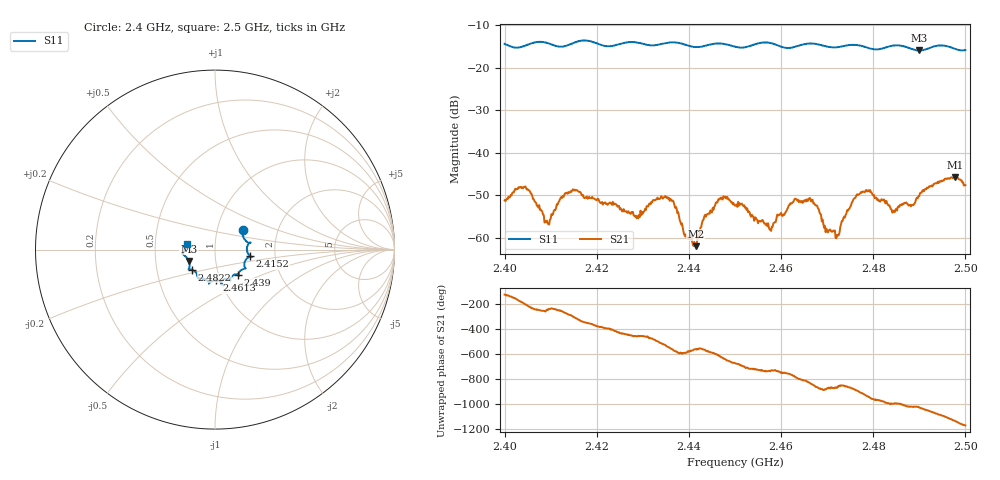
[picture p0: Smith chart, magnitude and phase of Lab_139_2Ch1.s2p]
# Hz S RI R 50
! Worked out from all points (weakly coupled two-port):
!   601 points, 2.4 GHz to 2.5 GHz, reference 50 ohm
!   highest |S21| = -45.72 dB at 2.4978 GHz (marker M1); lowest = -62.0 dB at 2.4415 GHz (marker M2)
!   lowest |S11| = -15.9 dB at 2.49 GHz (marker M3), VSWR 1.38, Z = 36.9 - j4.84 ohm
!   |S11| at or under -10 dB: start of sweep to end of sweep
!   S12 and S22 are empty: the file has one direction only
!   S11 on the Smith chart (normalised r, x): 2.4 GHz: 1.33, +0.31; 2.4152 GHz: 1.48, -0.11; 2.439 GHz: 1.24, -0.36; 2.4613 GHz: 0.96, -0.34; 2.4822 GHz: 0.76, -0.17; 2.5 GHz: 0.73, +0.05
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2.4e9  0.1553 0.1117  -0.00141 -0.00237  0 0  0 0
2.404667e9  0.1791 0.042  -0.00357 0.00138  0 0  0 0
2.409167e9  0.193 0.0375  -0.000728 0.00141  0 0  0 0
2.415167e9  0.195 -0.0361  0.0021 0.00302  0 0  0 0
2.416667e9  0.2047 -0.0421  0.00298 0.00128  0 0  0 0
2.428833e9  0.1683 -0.105  -0.000179 -0.00178  0 0  0 0
2.433333e9  0.1323 -0.1324  -0.00215 -0.00191  0 0  0 0
2.4365e9  0.1349 -0.1472  -0.00252 0.00107  0 0  0 0
2.439e9  0.1278 -0.1388  -0.000707 0.000825  0 0  0 0
2.4415e9  0.1034 -0.1417  -0.000753 0.000257  0 0  0 0
2.446333e9  0.0855 -0.1736  -0.00119 0.00254  0 0  0 0
2.45e9  0.0687 -0.1634  0.00159 0.00178  0 0  0 0
2.4575e9  0.0403 -0.1927  0.00121 -0.000292  0 0  0 0
2.461333e9  0.00742 -0.1711  0.00178 -0.00123  0 0  0 0
2.466667e9  -0.0337 -0.1902  -0.00146 -0.00236  0 0  0 0
2.472167e9  -0.0678 -0.1609  -0.00093 -0.000558  0 0  0 0
2.476833e9  -0.0953 -0.1576  -0.00322 -1.07e-05  0 0  0 0
2.482167e9  -0.1283 -0.1117  -0.000562 0.00269  0 0  0 0
2.483333e9  -0.1394 -0.1101  0.000143 0.00239  0 0  0 0
2.49e9  -0.1466 -0.0638  0.00195 0.00241  0 0  0 0
2.497833e9  -0.1665 -0.00214  0.00275 -0.00439  0 0  0 0
2.5e9  -0.1582 0.0338  -0.000171 -0.00416  0 0  0 0
